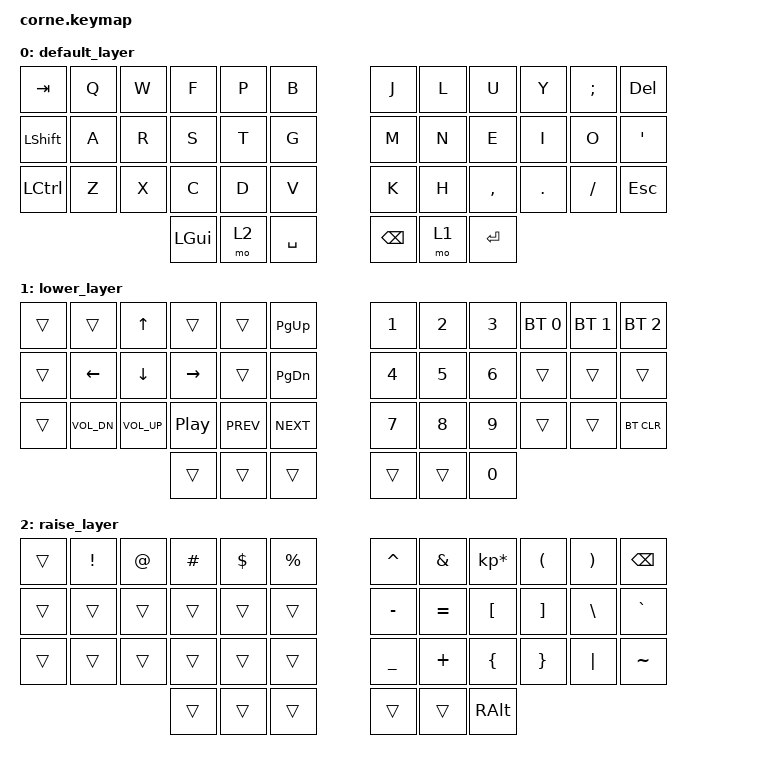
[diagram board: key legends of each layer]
/*
 * Copyright (c) 2020 The ZMK Contributors
 *
 * SPDX-License-Identifier: MIT
 */

#include <behaviors.dtsi>
#include <dt-bindings/zmk/keys.h>
#include <dt-bindings/zmk/bt.h>

/ {
        keymap {
                compatible = "zmk,keymap";

                default_layer {
// -----------------------------------------------------------------------------------------
// |TAB   |  Q  |  W  |  F  |  P  |  B  |   |  J  |  L   |  U  |  Y  |  ;  | DEL |
// |LSHFT |  A  |  R  |  S  |  T  |  G  |   |  M  |  N   |  E  |  I  |  O  |  '  |
// |LCTRL |  Z  |  X  |  C  |  D  |  V  |   |  K  |  H   |  ,  |  .  |  /  | ESC |
//                    | GUI | RSE | SPC |   |BSPC | LWR  | RET |
                        bindings = <
   &kp TAB   &kp Q &kp W &kp F &kp P &kp B   &kp J &kp L  &kp U     &kp Y   &kp SEMI &kp DEL
   &kp LSHFT &kp A &kp R &kp S &kp T &kp G   &kp M &kp N  &kp E     &kp I   &kp O    &kp SQT
   &kp LCTRL &kp Z &kp X &kp C &kp D &kp V   &kp K &kp H  &kp COMMA &kp DOT &kp FSLH &kp ESC
                   &kp LGUI &mo 2 &kp SPACE  &kp BSPC &mo 1 &kp RET
                        >;
                };
                lower_layer {
// -----------------------------------------------------------------------------------------
// |TAB   |     |UP   |     |     |PG_UP|   |  1  |  2  |  3  |BT 1 |BT 2 |BT 3  |
// |LSHFT |LEFT |DOWN |RIGHT|     |PG_DN|   |  4  |  5  |  6  |     |     |      |
// |LCTRL |VOLUP|VOLDN| PP  |PREV |NEXT |   |  7  |  8  |  9  |     |     |BT CLR|
//                    | GUI | RSE | SPC |   |BSPC | LWR |  0  |
                        bindings = <
   &trans &trans       &kp UP   &trans    &trans    &kp PG_UP  &kp N1 &kp N2 &kp N3 &bt BT_SEL 0 &bt BT_SEL 1 &bt BT_SEL 2
   &trans &kp LEFT     &kp DOWN &kp RIGHT &trans    &kp PG_DN  &kp N4 &kp N5 &kp N6 &trans       &trans       &trans
   &trans &kp C_VOL_DN &kp C_VOL_UP &kp C_PP &kp C_PREV &kp C_NEXT &kp N7 &kp N8 &kp N9 &trans   &trans       &bt BT_CLR
                       &trans   &trans    &trans    &trans     &trans &kp N0
                       
                        >;
                };
                raise_layer {
// -----------------------------------------------------------------------------------------
// |TAB   |  !  |  @  |  #  |  $  |  %  |   |  ^  |  &  |  *  |  (  |  )  |      |
// |LSHFT |     |     |     |     |     |   |  -  |  =  |  [  |  ]  |  \  |  `   |
// |LCTRL |     |     |     |     |     |   |  _  |  +  |  {  |  }  | "|" |  ~   |
//                    | GUI | RSE | SPC |   |BSPC | LWR | ALT	 |
                        bindings = <

   &trans    &kp EXCL &kp AT &kp HASH &kp DLLR &kp PRCNT   &kp CARET &kp AMPS  &kp KP_MULTIPLY &kp LPAR &kp RPAR &kp BSPC
   &trans    &trans   &trans &trans   &trans   &trans      &kp MINUS &kp EQUAL &kp LBKT        &kp RBKT &kp BSLH &kp GRAVE
   &trans    &trans   &trans &trans   &trans   &trans      &kp UNDER &kp PLUS  &kp LBRC        &kp RBRC &kp PIPE &kp TILDE
                    	     &trans &trans   &trans   &trans   &trans    &kp RALT
                        >;
                };
        };
};
